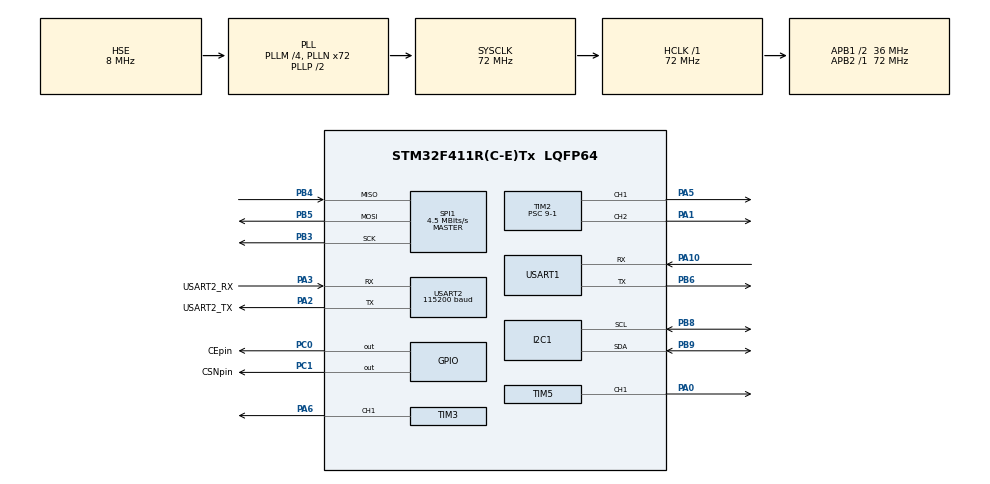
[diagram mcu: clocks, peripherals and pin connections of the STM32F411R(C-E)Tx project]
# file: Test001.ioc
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Dma.Request0=USART1_RX
Dma.Request1=USART1_TX
Dma.Request2=USART2_RX
Dma.Request3=USART2_TX
Dma.USART1_RX.0.Direction=DMA_PERIPH_TO_MEMORY
Dma.USART1_RX.0.FIFOMode=DMA_FIFOMODE_DISABLE
Dma.USART1_RX.0.Instance=DMA2_Stream2
Dma.USART1_RX.0.MemDataAlignment=DMA_MDATAALIGN_BYTE
Dma.USART1_RX.0.MemInc=DMA_MINC_ENABLE
Dma.USART1_RX.0.Mode=DMA_NORMAL
Dma.USART1_RX.0.PeriphDataAlignment=DMA_PDATAALIGN_BYTE
Dma.USART1_RX.0.PeriphInc=DMA_PINC_DISABLE
Dma.USART1_RX.0.Priority=DMA_PRIORITY_LOW
Dma.USART1_TX.1.Direction=DMA_MEMORY_TO_PERIPH
Dma.USART1_TX.1.FIFOMode=DMA_FIFOMODE_DISABLE
Dma.USART1_TX.1.Instance=DMA2_Stream7
Dma.USART1_TX.1.MemDataAlignment=DMA_MDATAALIGN_BYTE
Dma.USART1_TX.1.MemInc=DMA_MINC_ENABLE
Dma.USART1_TX.1.Mode=DMA_NORMAL
Dma.USART1_TX.1.PeriphDataAlignment=DMA_PDATAALIGN_BYTE
Dma.USART1_TX.1.PeriphInc=DMA_PINC_DISABLE
Dma.USART1_TX.1.Priority=DMA_PRIORITY_LOW
Dma.USART2_RX.2.Direction=DMA_PERIPH_TO_MEMORY
Dma.USART2_RX.2.FIFOMode=DMA_FIFOMODE_DISABLE
Dma.USART2_RX.2.Instance=DMA1_Stream5
Dma.USART2_RX.2.MemDataAlignment=DMA_MDATAALIGN_BYTE
Dma.USART2_RX.2.MemInc=DMA_MINC_ENABLE
Dma.USART2_RX.2.Mode=DMA_NORMAL
Dma.USART2_RX.2.PeriphDataAlignment=DMA_PDATAALIGN_BYTE
Dma.USART2_RX.2.PeriphInc=DMA_PINC_DISABLE
Dma.USART2_RX.2.Priority=DMA_PRIORITY_LOW
Dma.USART2_TX.3.Direction=DMA_MEMORY_TO_PERIPH
Dma.USART2_TX.3.FIFOMode=DMA_FIFOMODE_DISABLE
Dma.USART2_TX.3.Instance=DMA1_Stream6
Dma.USART2_TX.3.MemDataAlignment=DMA_MDATAALIGN_BYTE
Dma.USART2_TX.3.MemInc=DMA_MINC_ENABLE
Dma.USART2_TX.3.Mode=DMA_NORMAL
Dma.USART2_TX.3.PeriphDataAlignment=DMA_PDATAALIGN_BYTE
Dma.USART2_TX.3.PeriphInc=DMA_PINC_DISABLE
Dma.USART2_TX.3.Priority=DMA_PRIORITY_LOW
I2C1.I2C_Mode=I2C_Fast
Mcu.Family=STM32F4
Mcu.Name=STM32F411R(C-E)Tx
Mcu.Package=LQFP64
NVIC.DMA1_Stream5_IRQn=true\:0\:0\:false\:false\:true\:false\:true
NVIC.DMA1_Stream6_IRQn=true\:0\:0\:false\:false\:true\:false\:true
NVIC.DMA2_Stream2_IRQn=true\:0\:0\:false\:false\:true\:false\:true
NVIC.DMA2_Stream7_IRQn=true\:0\:0\:false\:false\:true\:false\:true
NVIC.I2C1_ER_IRQn=true\:0\:0\:false\:false\:true\:true\:true
NVIC.I2C1_EV_IRQn=true\:0\:0\:false\:false\:true\:true\:true
NVIC.PriorityGroup=NVIC_PRIORITYGROUP_0
NVIC.TIM2_IRQn=true\:0\:0\:false\:false\:true\:true\:true
NVIC.TIM3_IRQn=true\:0\:0\:false\:false\:true\:true\:true
NVIC.TIM5_IRQn=true\:0\:0\:false\:false\:true\:true\:true
NVIC.USART1_IRQn=true\:0\:0\:false\:false\:true\:true\:true
NVIC.USART2_IRQn=true\:0\:0\:false\:false\:true\:true\:true
PA0-WKUP.Signal=S_TIM5_CH1
PA1.Signal=S_TIM2_CH2
PA10.Mode=Asynchronous
PA10.Signal=USART1_RX
PA13.GPIO_Label=TMS
PA13.Mode=Serial_Wire
PA13.Signal=SYS_JTMS-SWDIO
PA14.GPIO_Label=TCK
PA14.Mode=Serial_Wire
PA14.Signal=SYS_JTCK-SWCLK
PA2.GPIO_Label=USART2_TX
PA2.Mode=Asynchronous
PA2.Signal=USART2_TX
PA3.GPIO_Label=USART2_RX
PA3.Mode=Asynchronous
PA3.Signal=USART2_RX
PA5.Signal=S_TIM2_CH1_ETR
PA6.Signal=S_TIM3_CH1
PB3.Mode=Full_Duplex_Master
PB3.Signal=SPI1_SCK
PB4.Mode=Full_Duplex_Master
PB4.Signal=SPI1_MISO
PB5.Mode=Full_Duplex_Master
PB5.Signal=SPI1_MOSI
PB6.Mode=Asynchronous
PB6.Signal=USART1_TX
PB8.Mode=I2C
PB8.Signal=I2C1_SCL
PB9.Mode=I2C
PB9.Signal=I2C1_SDA
PC0.GPIO_Label=CEpin
PC0.Signal=GPIO_Output
PC1.GPIO_Label=CSNpin
PC1.Signal=GPIO_Output
PH0\ -\ OSC_IN.Mode=HSE-External-Oscillator
PH0\ -\ OSC_IN.Signal=RCC_OSC_IN
PH1\ -\ OSC_OUT.Mode=HSE-External-Oscillator
PH1\ -\ OSC_OUT.Signal=RCC_OSC_OUT
ProjectManager.HeapSize=0x2000
ProjectManager.StackSize=0x4000
ProjectManager.TargetToolchain=EWARM V8.32
RCC.48MHZClocksFreq_Value=36000000
RCC.AHBFreq_Value=72000000
RCC.APB1CLKDivider=RCC_HCLK_DIV2
RCC.APB1Freq_Value=36000000
RCC.APB1TimFreq_Value=72000000
RCC.APB2Freq_Value=72000000
RCC.APB2TimFreq_Value=72000000
RCC.CortexFreq_Value=72000000
RCC.FLatency-AdvancedSettings=FLASH_LATENCY_2
RCC.HCLKFreq_Value=72000000
RCC.HSE_VALUE=8000000
RCC.HSI_VALUE=16000000
RCC.LSE_VALUE=32768
RCC.PLLM=4
RCC.PLLN=72
RCC.PLLSourceVirtual=RCC_PLLSOURCE_HSE
RCC.SYSCLKFreq_VALUE=72000000
RCC.SYSCLKSource=RCC_SYSCLKSOURCE_PLLCLK
RCC.VCOOutputFreq_Value=144000000
SH.S_TIM2_CH1_ETR.0=TIM2_CH1,PWM Generation1 CH1
SH.S_TIM2_CH2.0=TIM2_CH2,PWM Generation2 CH2
SH.S_TIM3_CH1.0=TIM3_CH1,PWM Generation1 CH1
SH.S_TIM5_CH1.0=TIM5_CH1,PWM Generation1 CH1
SPI1.BaudRatePrescaler=SPI_BAUDRATEPRESCALER_16
SPI1.CalculateBaudRate=4.5 MBits/s
SPI1.Direction=SPI_DIRECTION_2LINES
SPI1.Mode=SPI_MODE_MASTER
SPI1.VirtualType=VM_MASTER
TIM2.AutoReloadPreload=TIM_AUTORELOAD_PRELOAD_ENABLE
TIM2.Channel-PWM\ Generation1\ CH1=TIM_CHANNEL_1
TIM2.Channel-PWM\ Generation2\ CH2=TIM_CHANNEL_2
TIM2.Period=16000-1
TIM2.Prescaler=9-1
TIM3.AutoReloadPreload=TIM_AUTORELOAD_PRELOAD_ENABLE
TIM3.Channel-PWM\ Generation1\ CH1=TIM_CHANNEL_1
TIM3.Period=16000-1
TIM3.Prescaler=9-1
TIM5.AutoReloadPreload=TIM_AUTORELOAD_PRELOAD_ENABLE
TIM5.Channel-PWM\ Generation1\ CH1=TIM_CHANNEL_1
TIM5.Period=16000-1
TIM5.Prescaler=9-1
USART1.VirtualMode=VM_ASYNC
USART2.BaudRate=115200
USART2.VirtualMode=VM_ASYNC
VP_TIM2_VS_ClockSourceINT.Mode=Internal
VP_TIM3_VS_ClockSourceINT.Mode=Internal
VP_TIM5_VS_ClockSourceINT.Mode=Internal
board=NUCLEO-F411RE

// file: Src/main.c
/* USER CODE BEGIN Header */
/**
  ******************************************************************************
  * @file           : main.c
  * @brief          : Main program body
  ******************************************************************************
  * @attention
  *
  * <h2><center>&copy; Copyright (c) 2020 STMicroelectronics.
  * All rights reserved.</center></h2>
  *
  * This software component is licensed by ST under BSD 3-Clause license,
  * the "License"; You may not use this file except in compliance with the
  * License. You may obtain a copy of the License at:
  *                        opensource.org/licenses/BSD-3-Clause
  *
  ******************************************************************************
  */
/* USER CODE END Header */

#include "main.h"

/* USER CODE BEGIN Includes */
#include <stdio.h>
#include <string.h>
#include <math.h>
#include <stdlib.h>

#include "stm32f4xx_hal.h"
#include "Quaternion.h"
#include "pid.h"
#include "PWM.h"
#include "Filters.h"
#include "fuzzy.h"
#include "STM32F4_FLASH_MEMORY.h"
#include "nRF24_Receive.h"
#include "tm_stm32_mpu9250.h"
#include "tm_stm32_nrf24l01.h"
#include "tm_stm32_delay.h"
#include "utils.h"

/* USER CODE END Includes */

/* USER CODE BEGIN PD */
#define PI                      (3.141592f)                                     //the ratio of the circumference of a circle to its diameter.
#define dt                      (2.0f)                                          //Least dt milliseconds (>1/dt mHz)Update term (milliseconds).
#define init_angle_average      (40)                                            //Initiate_Setting_angle.
/* USER CODE END PD */

I2C_HandleTypeDef hi2c1;

SPI_HandleTypeDef hspi1;

TIM_HandleTypeDef htim2;
TIM_HandleTypeDef htim3;
TIM_HandleTypeDef htim5;

void SystemClock_Config(void);
static void MX_GPIO_Init(void);
static void MX_DMA_Init(void);
static void MX_I2C1_Init(void);
static void MX_SPI1_Init(void);
static void MX_TIM2_Init(void);
static void MX_TIM3_Init(void);
static void MX_TIM5_Init(void);
static void MX_USART1_UART_Init(void);
static void MX_USART2_UART_Init(void);
/* USER CODE BEGIN PFP */
void UART1_TX_string(char* str);
void UART2_TX_string(char* str);
void uart_recv_val(uint8_t* arr, __PID* pid,int *Controller_1, float* setting_angle);
/* USER CODE END PFP */

/* USER CODE BEGIN 0 */
//==============================GLOBAL VARIABLES================================
//==============================================================================
//==============================UART variables==================================
uint8_t Tx_buffer[50];                                                          //Transmit buffer.

uint8_t uart1_rx_irq_buffer[8];                                                 //Receive buffer.
uint8_t uart1_tx_to_MFC[16];                                                    //Transmit buffer.
uint8_t uart2_tx_data[255];
uint8_t data;
int count = 0;

//volatile __IO uint8_t  DMA_Rx_Flag = 0;
//volatile __IO uint8_t  DMA_Tx_Flag = 0;
//==============================INIT Variables==================================
//=============================MPU9250 variables================================
//==============================================================================
//=======================nRF24L01 GLOBAL VARIABLES==============================
//uint8_t TxAddress[] = {                                                       // Controller
//  0xE7,
//  0xE7,
//  0xE7,
//  0xE7,
//  0xE7
//};
uint8_t MyAddress[] = {                                                         // Controller
  0x7E,
  0x7E,
  0x7E,
  0x7E,
  0x7E
};

//int value=0;

//==============================================================================

//================================printf FUNCTION===============================
//int fputc(int ch ,FILE *f)
//{
//  //UART2_TX_string((char *)ch);
//  HAL_UART_Transmit(&huart2,(uint8_t*)&ch,1,0xFFFF);
//  return ch;
//}
//==============================================================================

/* USER CODE END 0 */

int main(void)
{
  /* USER CODE BEGIN 1 */
  //==============================INIT Variables================================
  TM_MPU9250_t    MPU9250;                                                      //MPU9250 Sensor structure.
  __PID           pid;                                                          //PID Controll structure.
  //========================Flags and Time_flags================================
  uint32_t Now = 0;                                                             //Used to calculate integration interval.
  uint32_t lastUpdate = 0;                                                      //Used to calculate integration interval.
  uint32_t before_while = 0;                                                    //Time of Before entering while loop.
  uint16_t wait = 0;                                                            //getting initiate setting_angle waiting time.
  uint8_t wait_flag = 0;                                                        //Time waiting flag.
  uint8_t errflag = 0;
//  uint8_t UART1_flag=0;
  //=============================UART Variables=================================
  //========================Quaternion VARIABLES================================
  float deltat = 0.0f;                                                          //integration interval for filter schemes.
  float q[4] = {1.0f, 0.0f, 0.0f, 0.0f};                                        //vector to hold quaternion.
  float q2[4] = {1.0f, 0.0f, 0.0f, 0.0f};                                       //vector to hold quaternion.
  float Euler_angle[3] = {0.0f, 0.0f, 0.0f};                                    //roll pitch yaw.
  float Euler_angle2[3] = {0.0f, 0.0f, 0.0f};                                   //roll pitch yaw.
  float Euler_angle_Union[3] = {0.0f, 0.0f, 0.0f};                              //roll pitch yaw.
  //=============================Fuzzy Variables================================
  float prev_err[3];                                                            //Prev_Setting_point - Euler_angle.
  //==============================PWM Variables=================================
  int Controller_1 = 15;                                                        //Moter Throttle.
  //==============================FILTER's Variables============================
//  float preEuler_angle[3] = {0.0f, 0.0f, 0.0f};                                 //Used in LPF.
//  float LPF_Euler_angle[3] = {0.0f, 0.0f, 0.0f};                                //Used in LPF.
//  float preGyro[3] = {0.0f, 0.0f, 0.0f};                                        //Used in GyroLPF.
//  float LPF_Gyro[3] = {0.0f, 0.0f, 0.0f};                                       //Used in GyroLPF.
  //=============================MPU9250 Variables==============================
  float Self_Test[6] = {0.0f, 0.0f, 0.0f, 0.0f, 0.0f, 0.0f};                    //MPU9250 Accell and Gyro Self_Test.
  float Self_Test_Mag[3] = {0.0f, 0.0f, 0.0f};                                  //MPU9250 Magnetometer Self_Test.
  //========================Drone Calibration Mode Variables====================
  uint8_t CaliFlag = 1;
  //============================nRF24L01 VARIABLES==============================
  int temp_int = 0;                                                                 //uint8_t
  float temp = 0;                                                                   //uint8_t
  //====================Hanging Variables from external controll================
  float setting_angle[3] = {0.0f, 0.0f, 0.0f};                                  //roll pitch yaw.
  float init_setting_angle[3] = {0.0f, 0.0f, 0.0f};
//  float pid_val[3][3] = {{0.95f, 0.01f, 0.0f}, {0.8f, 0.01f, 0.0f}, {1.0f, 0.0f, 0.0f}};            //P I D gain controll (Roll PID, Pitch PID, Yaw PID sequences).
//  float inpid_val[3][3] = {{40.501f, 0.01f, 0.570f}, {45.501f, 0.01f, 0.970f}, {20.0f, 0.0f, 0.5f}};          //P I D gain controll (Roll PID, Pitch PID, Yaw PID sequences).
  float pid_val[3][3] = {{0.95f, 0.01f, 0.0f}, {0.8f, 0.01f, 0.0f}, {1.0f, 0.0f, 0.0f}};            //P I D gain controll (Roll PID, Pitch PID, Yaw PID sequences).
  float inpid_val[3][3] = {{40.501f, 0.01f, 0.570f}, {45.501f, 0.01f, 0.970f}, {20.0f, 0.0f, 0.5f}};          //P I D gain controll (Roll PID, Pitch PID, Yaw PID sequences).
  float angular_velocity[3];                                                    //For double loop PID.

  /* USER CODE END 1 */

  /* MCU Configuration--------------------------------------------------------*/

  /* Reset of all peripherals, Initializes the Flash interface and the Systick. */
  HAL_Init();

  /* USER CODE BEGIN Init */
  __INIT__MPU9250(&MPU9250);                                                    //Init MPU9250 variables.
  MPU9250SelfTest(&MPU9250, &Self_Test[0],TM_MPU9250_Device_0);                 //Selftest MPU9250.
  //calibrateMPU9250(&MPU9250);                                                 //Calibrate MPU9250 Accelometer and Gyroscope.
  TM_MPU9250_Init(&MPU9250, TM_MPU9250_Device_0);                               //Init MPU9250 and setting.
  TM_MPU9250_ReadMagASA(&MPU9250);                                              //Get MPU9250 Magnetic ASA data.
  pid_init(&pid, pid_val, inpid_val);                                           //Init pid values.
  fuzzy_init();                                                                 //Init fuzzy values.
  /* USER CODE END Init */

  /* Configure the system clock */
  SystemClock_Config();

  /* Initialize all configured peripherals */
  MX_GPIO_Init();
  MX_DMA_Init();
  MX_I2C1_Init();
  MX_SPI1_Init();
  MX_TIM2_Init();
  MX_TIM3_Init();
  MX_TIM5_Init();
  MX_USART1_UART_Init();
  MX_USART2_UART_Init();
  /* USER CODE BEGIN 2 */
//System_information();
//STM32f4_USART2_Init();
  //=============================Calibration Part===============================
  if(CaliFlag == 0)    //0 is disable.
  {
    HAL_TIM_PWM_Stop(&htim5, TIM_CHANNEL_1);
    HAL_TIM_PWM_Stop(&htim2, TIM_CHANNEL_2);
    HAL_TIM_PWM_Stop(&htim2, TIM_CHANNEL_1);
    HAL_TIM_PWM_Stop(&htim3, TIM_CHANNEL_1);

    MPU9250SelfTest(&MPU9250, &Self_Test[0],TM_MPU9250_Device_0);
    //calibrateMPU9250(&MPU9250);
    Delayms(500);
    TM_MPU9250_Init(&MPU9250, TM_MPU9250_Device_0);
    TM_MPU9250_ReadMagASA(&MPU9250);                                            //Get MPU9250 Magnetic ASA data.
    AK8963SelfTest(&MPU9250, &Self_Test_Mag[0]);
    MagCalibration(&MPU9250);
    //while(1){}                                                                //Unlimited loop.
  }
  //==========================Calibration Part END==============================
  //==============================PWM START=====================================
  if (1)
  {
    HAL_TIM_PWM_Start(&htim5, TIM_CHANNEL_1);
    HAL_TIM_PWM_Start(&htim2, TIM_CHANNEL_2);
    HAL_TIM_PWM_Start(&htim2, TIM_CHANNEL_1);
    HAL_TIM_PWM_Start(&htim3, TIM_CHANNEL_1);
  }

    //ESC_Calibration();
    Motor_Init();
    //Motor_Start();

  TM_NRF24L01_Init(120,8);
  TM_NRF24L01_SetRF(TM_NRF24L01_DataRate_250k, TM_NRF24L01_OutputPower_0dBm);
  TM_NRF24L01_SetMyAddress(MyAddress);
  //======================Get Biases From Flash Memory==========================
  if(1){
    Get_biases(&MPU9250);
  }
  //=====================Get Biases From Flash Memory END=======================
  before_while = HAL_GetTick();                                                 //Get time of before while loop.
  lastUpdate = before_while;                                                    //First time of lastUpdate using for gain the deltat.

  LL_USART_EnableIT_RXNE(USART1);
//  LL_USART_EnableIT_RXNE(USART2);
  /* USER CODE END 2 */

  /* Infinite loop */
  /* USER CODE BEGIN WHILE */
  while (1)
  {

    //int aa = HAL_GetTick();     //Get time.
  //============================Get MPU9250 data================================
    TM_MPU9250_ReadAcce(&MPU9250);                                              //get Accel data.
    TM_MPU9250_ReadGyro(&MPU9250);                                              //get Gyro data.
    TM_MPU9250_ReadMag(&MPU9250);                                               //get Magnetic data.
  //==========================Get MPU9250 data END==============================
  //===Subtract Automatic Accelometer Gyroscope and Magnetic filed bias===

     MPU9250.Ax -= MPU9250.Accbiasx;                                            //callibrate Accel values.
     MPU9250.Ay -= MPU9250.Accbiasy;
     MPU9250.Az -= MPU9250.Accbiasz;

     MPU9250.Gx -= MPU9250.Gybiasx;                                             //callibrate Gyro values.
     MPU9250.Gy -= MPU9250.Gybiasy;
     MPU9250.Gz -= MPU9250.Gybiasz;

     MPU9250.Mx -= MPU9250.Magbiasx;                                            //callibrate Magnetic values.
     MPU9250.My -= MPU9250.Magbiasy;
     MPU9250.Mz -= MPU9250.Magbiasz;

     MPU9250.Mx *= MPU9250.Magscalex;                                           //callibrate Magnetic values.
     MPU9250.My *= MPU9250.Magscaley;
     MPU9250.Mz *= MPU9250.Magscalez;

  //====Subtract Automatic Accelometer Gyroscope and Magnetic filed bias END====
  //===========================Init settiing angle==============================
    if (wait_flag < init_angle_average)
    {
      wait = HAL_GetTick() - before_while;
      if (wait >= 5000)
      {
        init_setting_angle[0] += Euler_angle[0];                                //roll.
        init_setting_angle[1] += Euler_angle[1];                                //pitch.
        init_setting_angle[2] += Euler_angle[2];                                //yaw.
        wait_flag ++;
      }
    }
    if (wait_flag == init_angle_average)
    {
//      setting_angle[0] = init_setting_angle[0] / init_angle_average;          //init roll.
//      setting_angle[1] = init_setting_angle[1] / init_angle_average;          //init pitch.
      setting_angle[2] = init_setting_angle[2] / init_angle_average;            //init yaw.
      wait_flag ++;
    }
  //============================Init settiing angle END=========================
  //============================Get delta_t=====================================
    Now = HAL_GetTick();                                                        //Get current time.
    deltat += (Now - lastUpdate);                                               //Set integration time by time elapsed since+ last filter update (milliseconds).
    lastUpdate = Now;                                                           //Update lastupdate time to current time.
  //============================Get delta T END=================================
  //============================================================================
    angular_velocity[0] = MPU9250.Gx / 10.0f * dt;                              //angular velocity (degree/1ms(*2))
    angular_velocity[1] = MPU9250.Gy / 10.0f * dt;
    angular_velocity[2] = MPU9250.Gz / 10.0f * dt;

    if (deltat >= dt)                                                           //Update term (500Hz.dt=2).
    {
      deltat /= 1000.0f;                                                        //Make millisecond to second.
      //__LPFGyro(LPF_Gyro, &MPU9250, preGyro, deltat);
      MahonyQuaternionUpdate(MPU9250.Ax, MPU9250.Ay, MPU9250.Az, MPU9250.Gx*PI/180.0f, MPU9250.Gy*PI/180.0f, MPU9250.Gz*PI/180.0f, MPU9250.My, MPU9250.Mx, -MPU9250.Mz, q, deltat);
      MahonyAHRSupdateIMU2(MPU9250.Ax, MPU9250.Ay, MPU9250.Az, MPU9250.Gx*PI/180.0f, MPU9250.Gy*PI/180.0f, MPU9250.Gz*PI/180.0f, q2, deltat);
      Quternion2Euler(q, Euler_angle);                                          //Get Euler angles (roll, pitch, yaw) from Quaternions.
      Quternion2Euler(q2, Euler_angle2);                                        //Get Euler angles (roll, pitch, yaw) from Quaternions.
      //__LPF(LPF_Euler_angle, Euler_angle, preEuler_angle, deltat);
      Euler_angle_Union[0] = Euler_angle2[0];
      Euler_angle_Union[1] = Euler_angle2[1];
      Euler_angle_Union[2] = Euler_angle[2];
      Euler_angle_Union[0] = constrain(Euler_angle_Union[0], -90.0, 90.0);
  //===================================Fuzzy part===============================
//      Fuzzification(setting_angle[0], Euler_angle[0], &prev_err[0]);            //Fuzzy roll part.
//      Create_Fuzzy_Matrix(0);
//      Defuzzification(&inpid_val[0][0],&inpid_val[0][1],&inpid_val[0][2], 0);   //Fuzzy roll end.
//
//      Fuzzification(setting_angle[1], Euler_angle[1], &prev_err[1]);            //Fuyzzy pitch part.
//      Create_Fuzzy_Matrix(1);
//      Defuzzification(&inpid_val[1][0],&inpid_val[1][1],&inpid_val[1][2], 1);   //Fuzzy pitch end.
//
//      Fuzzification(setting_angle[2], Euler_angle[2], &prev_err[2]);            //Fuzzy yaw part.
//      Create_Fuzzy_Matrix(2);
//      Defuzzification(&inpid_val[2][0],&inpid_val[2][1],&inpid_val[2][2], 2);   //Fuzzy yaw end.
//      pid_gain_update(&pid, pid_val, inpid_val);                                //From Fuzzy the PID gain value is changed.
//
//      Fuzzification(setting_angle[0], Euler_angle_Union[0], &prev_err[0]);      //Fuzzy roll part.
//      Create_Fuzzy_Matrix(0);
//      Defuzzification(&inpid_val[0][0],&inpid_val[0][1],&inpid_val[0][2], 0);   //Fuzzy roll end.
//
//      Fuzzification(setting_angle[1], Euler_angle_Union[1], &prev_err[1]);      //Fuyzzy pitch part.
//      Create_Fuzzy_Matrix(1);
//      Defuzzification(&inpid_val[1][0],&inpid_val[1][1],&inpid_val[1][2], 1);   //Fuzzy pitch end.
//
//      Fuzzification(setting_angle[2], Euler_angle_Union[2], &prev_err[2]);      //Fuzzy yaw part.
//      Create_Fuzzy_Matrix(2);
//      Defuzzification(&inpid_val[2][0],&inpid_val[2][1],&inpid_val[2][2], 2);   //Fuzzy yaw end.
//      pid_gain_update(&pid, pid_val, inpid_val);                                //From Fuzzy the PID gain value is changed.
  //================================Fuzzy part END==============================
      if (HAL_GetTick() - before_while >= 5500)
      {
        __pid_update(&pid, setting_angle, Euler_angle_Union, angular_velocity, deltat);         //PID value update.
        //__pid_update(&pid, setting_angle, Euler_angle, angular_velocity, deltat);         //PID value update.
        //__pid_update(&pid, setting_angle, LPF_Euler_angle, angular_velocity, deltat);   //PID value update.
        pid.output[0] = constrain(pid.output[0], -6000.0, 6000.0);
        pid.output[1] = constrain(pid.output[1], -6000.0, 6000.0);
        pid.output[2] = constrain(pid.output[2], -6000.0, 6000.0);

      }
      //=======Check dead board=================================================
      if (MPU9250.Ax_Raw == 0 && MPU9250.Ay_Raw == 0 && MPU9250.Az_Raw == 30209 \
        && MPU9250.Gx_Raw == 0 && MPU9250.Gy_Raw == 0 && MPU9250.Gz_Raw == 30209 \
        && MPU9250.Mx_Raw == 6 && MPU9250.My_Raw == 0 && MPU9250.Mz_Raw == 0)
      {
        errflag ++;
//        Euler_angle_Union[0] -= 90;
//        Euler_angle_Union[1] -= 38;
//        Euler_angle_Union[2] += 83;
        if(errflag >=2)
        {
            Controller_1 = 0;
            setting_angle[0] = 0;
            setting_angle[1] = 0;
            setting_angle[2] = 0;
            pid.output[0] = 0;
            pid.output[1] = 0;
            pid.output[2] = 0;
            errflag = 2;
        }
      }
      //if(Euler_angle[2] < 0) Euler_angle[2] += 360.0f;                        // Ensure yaw stays between 0 and 360
      deltat = 0.0f;                                                            //reset deltat.
    }
/*-----------------------------------------------------------------------------------------------*/
//============================Data print transmit UART part=====================
    //sprintf((char*)uart2_tx_data,"%10.4f %10.4f %10.4f %10.4f %10.4f %10.4f %10.4f %10.4f %10.4f \r\n",  \
      MPU9250.Ax, MPU9250.Ay ,MPU9250.Az, MPU9250.Gx, MPU9250.Gy, MPU9250.Gz, MPU9250.Mx, MPU9250.My, MPU9250.Mz);
    //sprintf((char*)uart2_tx_data,"%10.4f %10.4f %10.4f \r\n", MPU9250.Mx, MPU9250.My, MPU9250.Mz);
    //sprintf((char*)uart2_tx_data,"%10.4f %10.4f %10.4f %10.4f %10.4f %10.4f %10.4f %10.4f %10.4f \r\n",  \
      MPU9250.Ax, MPU9250.Ay ,MPU9250.Az, MPU9250.Gx, MPU9250.Gy, MPU9250.Gz, LPF_Gyro[0],LPF_Gyro[1], LPF_Gyro[2]);
    //sprintf((char*)uart2_tx_data,"%f  %f  %f  %f  %f  %f\r\n", Self_Test[0], Self_Test[1], Self_Test[2], Self_Test[3], Self_Test[4], Self_Test[5]);
    //sprintf((char*)uart2_tx_data,"%f  %f  %f\r\n", Self_Test_Mag[0], Self_Test_Mag[1], Self_Test_Mag[2]);
    //sprintf((char*)uart2_tx_data,"%f %f %f %f %f %f %f %f %f\r\n", MPU9250.Accbiasx, MPU9250.Accbiasy, MPU9250.Accbiasz, MPU9250.Gybiasx, MPU9250.Gybiasy, MPU9250.Gybiasz, MPU9250.Magbiasx, MPU9250.Magbiasy, MPU9250.Magbiasz);
    //sprintf((char*)uart2_tx_data,"%f %f %f %f %f %f\r\n", MPU9250.Magbiasx, MPU9250.Magbiasy, MPU9250.Magbiasz, MPU9250.Magscalex, MPU9250.Magscaley, MPU9250.Magscalez);
    //sprintf((char*)uart2_tx_data,"%10.4f %10.4f %10.4f %10.4f\r\n", q[0], q[1], q[2], q[3]);
    //sprintf((char*)uart2_tx_data,"%10.4f %10.4f %10.4f %10.4f %10.4f %10.4f %10.4f %10.4f %10.4f\r\n", pid.iKp[0], pid.iKi[0], pid.iKd[0], pid.iKp[1], pid.iKi[1], pid.iKd[1],pid.iKp[2], pid.iKi[2], pid.iKd[2]);

    //sprintf((char*)uart2_tx_data,"%10.2f  %10.2f  %10.2f  %10.2f  %10.2f  %10.2f  %10.2f  %10.2f  %10.2f\r\n",  Euler_angle[0], Euler_angle[1], Euler_angle[2], setting_angle[0], setting_angle[1], setting_angle[2], pid.output[0],pid.output[1], pid.output[2]);
    //sprintf((char*)uart2_tx_data,"%10.2f  %10.2f  %10.2f  %10.2f  %10.2f  %10.2f  %10.2f  %10.2f  %10.2f\r\n",  LPF_Euler_angle[0], LPF_Euler_angle[1], LPF_Euler_angle[2], setting_angle[0], setting_angle[1], setting_angle[2], pid.output[0],pid.output[1], pid.output[2]);
    //sprintf((char*)uart2_tx_data,"%4d %4d %4d\r\n", (int)LPF_Euler_angle[0], (int)LPF_Euler_angle[1], (int)LPF_Euler_angle[2]);
    //sprintf((char*)uart2_tx_data,"%4d %4d %4d\r\n", (int)Euler_angle[0], (int)Euler_angle[1], (int)Euler_angle[2]);
    //sprintf((char*)uart2_tx_data,"%10.2f  %10.2f  %10.2f  %10.2f  %10.2f  %10.2f  %10.2f\r\n",  Euler_angle[0], Euler_angle[1], Euler_angle[2], setting_angle[0], setting_angle[1], setting_angle[2], pid.output[2]);
    //sprintf((char*)uart2_tx_data,"%10.2f  %10.2f  %10.2f  %10.2f  %10.2f  %10.2f\r\n",  Euler_angle[0], Euler_angle[1], Euler_angle[2], setting_angle[0], setting_angle[1], setting_angle[2]);
    //sprintf((char*)uart2_tx_data,"%4d,%4d,%4d   %4d,%4d,%4d\r\n",  (int)Euler_angle[0], (int)Euler_angle[1], (int)Euler_angle[2], (int)Euler_angle2[0], (int)Euler_angle2[1], (int)Euler_angle2[2]);
    //sprintf((char*)uart2_tx_data,"%4d,%4d,%4d   %4d,%4d,%4d     %4d,%4d,%4d\r\n",  (int)Euler_angle[0], (int)Euler_angle[1], (int)Euler_angle[2], (int)Euler_angle2[0], (int)Euler_angle2[1], (int)Euler_angle2[2], (int)Euler_angle_Union[0], (int)Euler_angle_Union[1], (int)Euler_angle_Union[2]);
    //sprintf((char*)uart2_tx_data,"%4d,%4d,%4d\r\n", (int)Euler_angle_Union[0], (int)Euler_angle_Union[1], (int)Euler_angle_Union[2]);
    sprintf((char*)uart2_tx_data,"%4d,%4d,%4d  %7.2f %7.2f %7.2f  %7.2f %7.2f %7.2f %d\r\n", (int)Euler_angle_Union[0], (int)Euler_angle_Union[1], (int)Euler_angle_Union[2],pid.output[0],pid.output[1], pid.output[2], setting_angle[0], setting_angle[1], setting_angle[2], Controller_1);
    //sprintf((char*)uart2_tx_data,"%7.2f %7.2f %7.2f\r\n", pid.iKp[0],pid.iKi[0],pid.iKd[0]);
    //UART2_TX_string((char *)uart2_tx_data);

 //=========================Data print transmit UART part END===================

 //===========================BLDC Motor Part===================================

    if(HAL_GetTick() - before_while >= 5000 && HAL_GetTick() - before_while < 6000)
    {
       Motor_Start();
    }
    else if (HAL_GetTick() - before_while >= 6000)
    {
      //Motor_Drive(Controller_1, pid.output);

      if (Controller_1 <= 5)
      {
        MOTOR_V1 = MIN_PULSE;
        MOTOR_V2 = MIN_PULSE;
        MOTOR_V3 = MIN_PULSE;
        MOTOR_V4 = MIN_PULSE;
      }

      else if (Controller_1 > 5)                                                //Controller_1
      {
        if (fabs(Euler_angle_Union[0]) > 15.0f || fabs(Euler_angle_Union[1]) > 15.0f)       //Restrict yaw acting Euler angle.
        {
          pid.output[2] = 0.0f;
        }

        MOTOR_V1 = MIN_PULSE + (Controller_1 * 70) + (int)(0.7 * (MoterGain_roll) * pid.output[0]) - (int)(0.7 * (MoterGain_pitch) * pid.output[1]) + (int)(MoterGain_yaw * pid.output[2]);
        //MOTOR_V1 = MIN_PULSE + (Controller_1 * 70) + (int)(0.7 * MoterGain_yaw * pid.output[2]);
        //MOTOR_V1 = MIN_PULSE + (Controller_1 * 70) + (int)(0.7 * (MoterGain_roll) * pid.output[0]) - (int)(0.7 * (MoterGain_pitch) * pid.output[1]);
        //MOTOR_V1 = MIN_PULSE + (Controller_1 * 70) - (int)(0.7 * MoterGain_pitch * pid.output[1]);
        //MOTOR_V1 = MIN_PULSE + (Controller_1 * 70) + (int)(0.7 * MoterGain_roll * pid.output[0]);
       // MOTOR_V1 = MIN_PULSE + (Controller_1 * 70);
        if (MOTOR_V1 >= MAX_PULSE)// - MOTER_SAFTY)
          MOTOR_V1 = MAX_PULSE;// -  MOTER_SAFTY;
        else if (MOTOR_V1 <= MIN_PULSE + 700)
          MOTOR_V1 = MIN_PULSE + 700;

        MOTOR_V2 = MIN_PULSE + (Controller_1 * 70) - (int)(0.7 * (MoterGain_roll) * pid.output[0]) - (int)(0.7 * (MoterGain_pitch) * pid.output[1]) - (int)(MoterGain_yaw * pid.output[2]);
        //MOTOR_V2 = MIN_PULSE + (Controller_1 * 70) - (int)(0.7 * MoterGain_yaw * pid.output[2]);
        //MOTOR_V2 = MIN_PULSE + (Controller_1 * 70) - (int)(0.7 * (MoterGain_roll) * pid.output[0]) - (int)(0.7 * (MoterGain_pitch) * pid.output[1]);
        //MOTOR_V2 = MIN_PULSE + (Controller_1 * 70) - (int)(0.7 * (MoterGain_pitch) * pid.output[1]);
        //MOTOR_V2 = MIN_PULSE + (Controller_1 * 70) - (int)(0.7 * MoterGain_roll * pid.output[0]);
        //MOTOR_V2 = MIN_PULSE + (Controller_1 * 70);
        if (MOTOR_V2 >= MAX_PULSE)// - MOTER_SAFTY)
          MOTOR_V2 = MAX_PULSE;// - MOTER_SAFTY;
        else if (MOTOR_V2 <= MIN_PULSE + 700)
          MOTOR_V2 = MIN_PULSE + 700;

        MOTOR_V3 = MIN_PULSE + (Controller_1 * 70) + (int)(0.7 * (MoterGain_roll) * pid.output[0]) + (int)(0.7 * (MoterGain_pitch) * pid.output[1]) - (int)(MoterGain_yaw * pid.output[2]);
        //MOTOR_V3 = MIN_PULSE + (Controller_1 * 70) - (int)(0.7 * MoterGain_yaw * pid.output[2]);
        //MOTOR_V3 = MIN_PULSE + (Controller_1 * 70) + (int)(0.7 * (MoterGain_roll) * pid.output[0]) + (int)(0.7 * (MoterGain_pitch) * pid.output[1]);
        //MOTOR_V3 = MIN_PULSE + (Controller_1 * 70) + (int)(0.7 * MoterGain_pitch * pid.output[1]);
        //MOTOR_V3 = MIN_PULSE + (Controller_1 * 70) + (int)(0.7 * MoterGain_roll * pid.output[0]);
        //MOTOR_V3 = MIN_PULSE + (Controller_1 * 70);
        if (MOTOR_V3 >= MAX_PULSE)// - MOTER_SAFTY)
          MOTOR_V3 = MAX_PULSE;// - MOTER_SAFTY;
        else if (MOTOR_V3 <= MIN_PULSE + 700)
          MOTOR_V3 = MIN_PULSE + 700;

        MOTOR_V4 = MIN_PULSE + (Controller_1 * 70) - (int)(0.7 * (MoterGain_roll) * pid.output[0]) + (int)(0.7 * (MoterGain_pitch) * pid.output[1]) + (int)(MoterGain_yaw * pid.output[2]);
        //MOTOR_V4 = MIN_PULSE + (Controller_1 * 70) + (int)(0.7 * MoterGain_yaw * pid.output[2]);
        //MOTOR_V4 = MIN_PULSE + (Controller_1 * 70) - (int)(0.7 * (MoterGain_roll) * pid.output[0]) + (int)(0.7 * (MoterGain_pitch) * pid.output[1]);
        //MOTOR_V4 = MIN_PULSE + (Controller_1 * 70) + (int)(0.7 * (MoterGain_pitch) * pid.output[1]);
        //MOTOR_V4 = MIN_PULSE + (Controller_1 * 70) - (int)(0.7 * MoterGain_roll * pid.output[0]);
        //MOTOR_V4 = MIN_PULSE + (Controller_1 * 70);
        if (MOTOR_V4 >= MAX_PULSE)// - MOTER_SAFTY)
          MOTOR_V4 = MAX_PULSE;// - MOTER_SAFTY;
        else if (MOTOR_V4 <= MIN_PULSE + 700)
          MOTOR_V4 = MIN_PULSE + 700;
       }
    }

//========================BLDC Motor Part END===================================

//========================NRF24L01 Receive Part=================================
 NRF24_Receive(&Controller_1,temp,temp_int,&pid,setting_angle,Euler_angle[2]);
//=======================NRF24L01 Receive Part END==============================

//==========================Data transmit part==================================
//==========================Euler_angle_chart_part==============================
 sprintf((char*)uart1_tx_to_MFC,"%d,%d,%d,", (int)Euler_angle_Union[0], (int)Euler_angle_Union[1], (int)Euler_angle_Union[2]);
    //sprintf((char*)uart1_tx_to_MFC,"%d,%d,%d,", (int)Euler_angle[0], (int)Euler_angle[1], (int)Euler_angle[2]);
    //UART1_TX_string((char *)uart1_tx_to_MFC);
//===========================outPID inPID change part===========================
     if(count == 8)
    {
      count = 0;
      uart_recv_val(uart1_rx_irq_buffer, &pid, &Controller_1, setting_angle);
    }
//============================Data transmit part END============================
//================================TIme Check====================================
//================================TIme Check END================================
    /* USER CODE END WHILE */

  }
}

void SystemClock_Config(void)
{
  RCC_OscInitTypeDef RCC_OscInitStruct = {0};
  RCC_ClkInitTypeDef RCC_ClkInitStruct = {0};

  /** Configure the main internal regulator output voltage
  */
  __HAL_RCC_PWR_CLK_ENABLE();
  __HAL_PWR_VOLTAGESCALING_CONFIG(PWR_REGULATOR_VOLTAGE_SCALE1);
  /** Initializes the CPU, AHB and APB busses clocks
  */
  RCC_OscInitStruct.OscillatorType = RCC_OSCILLATORTYPE_HSE;
  RCC_OscInitStruct.HSEState = RCC_HSE_ON;
  RCC_OscInitStruct.PLL.PLLState = RCC_PLL_ON;
  RCC_OscInitStruct.PLL.PLLSource = RCC_PLLSOURCE_HSE;
  RCC_OscInitStruct.PLL.PLLM = 4;
  RCC_OscInitStruct.PLL.PLLN = 72;
  RCC_OscInitStruct.PLL.PLLP = RCC_PLLP_DIV2;
  RCC_OscInitStruct.PLL.PLLQ = 4;
  if (HAL_RCC_OscConfig(&RCC_OscInitStruct) != HAL_OK)
  {
    Error_Handler();
  }
  /** Initializes the CPU, AHB and APB busses clocks
  */
  RCC_ClkInitStruct.ClockType = RCC_CLOCKTYPE_HCLK|RCC_CLOCKTYPE_SYSCLK
                              |RCC_CLOCKTYPE_PCLK1|RCC_CLOCKTYPE_PCLK2;
  RCC_ClkInitStruct.SYSCLKSource = RCC_SYSCLKSOURCE_PLLCLK;
  RCC_ClkInitStruct.AHBCLKDivider = RCC_SYSCLK_DIV1;
  RCC_ClkInitStruct.APB1CLKDivider = RCC_HCLK_DIV2;
  RCC_ClkInitStruct.APB2CLKDivider = RCC_HCLK_DIV1;

  if (HAL_RCC_ClockConfig(&RCC_ClkInitStruct, FLASH_LATENCY_2) != HAL_OK)
  {
    Error_Handler();
  }
}

static void MX_I2C1_Init(void)
{

  hi2c1.Instance = I2C1;
  hi2c1.Init.ClockSpeed = 400000;
  hi2c1.Init.DutyCycle = I2C_DUTYCYCLE_2;
  hi2c1.Init.OwnAddress1 = 0;
  hi2c1.Init.AddressingMode = I2C_ADDRESSINGMODE_7BIT;
  hi2c1.Init.DualAddressMode = I2C_DUALADDRESS_DISABLE;
  hi2c1.Init.OwnAddress2 = 0;
  hi2c1.Init.GeneralCallMode = I2C_GENERALCALL_DISABLE;
  hi2c1.Init.NoStretchMode = I2C_NOSTRETCH_DISABLE;
  if (HAL_I2C_Init(&hi2c1) != HAL_OK)
  {
    Error_Handler();
  }

}

static void MX_SPI1_Init(void)
{

  /* SPI1 parameter configuration*/
  hspi1.Instance = SPI1;
  hspi1.Init.Mode = SPI_MODE_MASTER;
  hspi1.Init.Direction = SPI_DIRECTION_2LINES;
  hspi1.Init.DataSize = SPI_DATASIZE_8BIT;
  hspi1.Init.CLKPolarity = SPI_POLARITY_LOW;
  hspi1.Init.CLKPhase = SPI_PHASE_1EDGE;
  hspi1.Init.NSS = SPI_NSS_SOFT;
  hspi1.Init.BaudRatePrescaler = SPI_BAUDRATEPRESCALER_16;
  hspi1.Init.FirstBit = SPI_FIRSTBIT_MSB;
  hspi1.Init.TIMode = SPI_TIMODE_DISABLE;
  hspi1.Init.CRCCalculation = SPI_CRCCALCULATION_DISABLE;
  hspi1.Init.CRCPolynomial = 10;
  if (HAL_SPI_Init(&hspi1) != HAL_OK)
  {
    Error_Handler();
  }

}

static void MX_TIM2_Init(void)
{

  TIM_ClockConfigTypeDef sClockSourceConfig = {0};
  TIM_MasterConfigTypeDef sMasterConfig = {0};
  TIM_OC_InitTypeDef sConfigOC = {0};

  htim2.Instance = TIM2;
  htim2.Init.Prescaler = 9-1;
  htim2.Init.CounterMode = TIM_COUNTERMODE_UP;
  htim2.Init.Period = 16000-1;
  htim2.Init.ClockDivision = TIM_CLOCKDIVISION_DIV1;
  htim2.Init.AutoReloadPreload = TIM_AUTORELOAD_PRELOAD_ENABLE;
  if (HAL_TIM_Base_Init(&htim2) != HAL_OK)
  {
    Error_Handler();
  }
  sClockSourceConfig.ClockSource = TIM_CLOCKSOURCE_INTERNAL;
  if (HAL_TIM_ConfigClockSource(&htim2, &sClockSourceConfig) != HAL_OK)
  {
    Error_Handler();
  }
  if (HAL_TIM_PWM_Init(&htim2) != HAL_OK)
  {
    Error_Handler();
  }
  sMasterConfig.MasterOutputTrigger = TIM_TRGO_RESET;
  sMasterConfig.MasterSlaveMode = TIM_MASTERSLAVEMODE_DISABLE;
  if (HAL_TIMEx_MasterConfigSynchronization(&htim2, &sMasterConfig) != HAL_OK)
  {
    Error_Handler();
  }
  sConfigOC.OCMode = TIM_OCMODE_PWM1;
  sConfigOC.Pulse = 0;
  sConfigOC.OCPolarity = TIM_OCPOLARITY_HIGH;
  sConfigOC.OCFastMode = TIM_OCFAST_DISABLE;
  if (HAL_TIM_PWM_ConfigChannel(&htim2, &sConfigOC, TIM_CHANNEL_1) != HAL_OK)
  {
    Error_Handler();
  }
  if (HAL_TIM_PWM_ConfigChannel(&htim2, &sConfigOC, TIM_CHANNEL_2) != HAL_OK)
  {
    Error_Handler();
  }
  HAL_TIM_MspPostInit(&htim2);

}

static void MX_TIM3_Init(void)
{

  TIM_ClockConfigTypeDef sClockSourceConfig = {0};
  TIM_MasterConfigTypeDef sMasterConfig = {0};
  TIM_OC_InitTypeDef sConfigOC = {0};

  htim3.Instance = TIM3;
  htim3.Init.Prescaler = 0;
  htim3.Init.CounterMode = TIM_COUNTERMODE_UP;
  htim3.Init.Period = 16000-1;
  htim3.Init.ClockDivision = TIM_CLOCKDIVISION_DIV1;
  htim3.Init.AutoReloadPreload = TIM_AUTORELOAD_PRELOAD_ENABLE;
  if (HAL_TIM_Base_Init(&htim3) != HAL_OK)
  {
    Error_Handler();
  }
  sClockSourceConfig.ClockSource = TIM_CLOCKSOURCE_INTERNAL;
  if (HAL_TIM_ConfigClockSource(&htim3, &sClockSourceConfig) != HAL_OK)
  {
    Error_Handler();
  }
  if (HAL_TIM_PWM_Init(&htim3) != HAL_OK)
  {
    Error_Handler();
  }
  sMasterConfig.MasterOutputTrigger = TIM_TRGO_RESET;
  sMasterConfig.MasterSlaveMode = TIM_MASTERSLAVEMODE_DISABLE;
  if (HAL_TIMEx_MasterConfigSynchronization(&htim3, &sMasterConfig) != HAL_OK)
  {
    Error_Handler();
  }
  sConfigOC.OCMode = TIM_OCMODE_PWM1;
  sConfigOC.Pulse = 0;
  sConfigOC.OCPolarity = TIM_OCPOLARITY_HIGH;
  sConfigOC.OCFastMode = TIM_OCFAST_DISABLE;
  if (HAL_TIM_PWM_ConfigChannel(&htim3, &sConfigOC, TIM_CHANNEL_1) != HAL_OK)
  {
    Error_Handler();
  }
  HAL_TIM_MspPostInit(&htim3);

}

static void MX_TIM5_Init(void)
{

  TIM_ClockConfigTypeDef sClockSourceConfig = {0};
  TIM_MasterConfigTypeDef sMasterConfig = {0};
  TIM_OC_InitTypeDef sConfigOC = {0};

  htim5.Instance = TIM5;
  htim5.Init.Prescaler = 9-1;
  htim5.Init.CounterMode = TIM_COUNTERMODE_UP;
  htim5.Init.Period = 16000-1;
  htim5.Init.ClockDivision = TIM_CLOCKDIVISION_DIV1;
  htim5.Init.AutoReloadPreload = TIM_AUTORELOAD_PRELOAD_ENABLE;
  if (HAL_TIM_Base_Init(&htim5) != HAL_OK)
  {
    Error_Handler();
  }
  sClockSourceConfig.ClockSource = TIM_CLOCKSOURCE_INTERNAL;
  if (HAL_TIM_ConfigClockSource(&htim5, &sClockSourceConfig) != HAL_OK)
  {
    Error_Handler();
  }
  if (HAL_TIM_PWM_Init(&htim5) != HAL_OK)
  {
    Error_Handler();
  }
  sMasterConfig.MasterOutputTrigger = TIM_TRGO_RESET;
  sMasterConfig.MasterSlaveMode = TIM_MASTERSLAVEMODE_DISABLE;
  if (HAL_TIMEx_MasterConfigSynchronization(&htim5, &sMasterConfig) != HAL_OK)
  {
    Error_Handler();
  }
  sConfigOC.OCMode = TIM_OCMODE_PWM1;
  sConfigOC.Pulse = 0;
  sConfigOC.OCPolarity = TIM_OCPOLARITY_HIGH;
  sConfigOC.OCFastMode = TIM_OCFAST_DISABLE;
  if (HAL_TIM_PWM_ConfigChannel(&htim5, &sConfigOC, TIM_CHANNEL_1) != HAL_OK)
  {
    Error_Handler();
  }
  HAL_TIM_MspPostInit(&htim5);

}

static void MX_USART1_UART_Init(void)
{

  LL_USART_InitTypeDef USART_InitStruct = {0};

  LL_GPIO_InitTypeDef GPIO_InitStruct = {0};

  /* Peripheral clock enable */
  LL_APB2_GRP1_EnableClock(LL_APB2_GRP1_PERIPH_USART1);

  LL_AHB1_GRP1_EnableClock(LL_AHB1_GRP1_PERIPH_GPIOA);
  LL_AHB1_GRP1_EnableClock(LL_AHB1_GRP1_PERIPH_GPIOB);
  /**USART1 GPIO Configuration
  PA10   ------> USART1_RX
  PB6   ------> USART1_TX
  */
  GPIO_InitStruct.Pin = LL_GPIO_PIN_10;
  GPIO_InitStruct.Mode = LL_GPIO_MODE_ALTERNATE;
  GPIO_InitStruct.Speed = LL_GPIO_SPEED_FREQ_VERY_HIGH;
  GPIO_InitStruct.OutputType = LL_GPIO_OUTPUT_PUSHPULL;
  GPIO_InitStruct.Pull = LL_GPIO_PULL_NO;
  GPIO_InitStruct.Alternate = LL_GPIO_AF_7;
  LL_GPIO_Init(GPIOA, &GPIO_InitStruct);

  GPIO_InitStruct.Pin = LL_GPIO_PIN_6;
  GPIO_InitStruct.Mode = LL_GPIO_MODE_ALTERNATE;
  GPIO_InitStruct.Speed = LL_GPIO_SPEED_FREQ_VERY_HIGH;
  GPIO_InitStruct.OutputType = LL_GPIO_OUTPUT_PUSHPULL;
  GPIO_InitStruct.Pull = LL_GPIO_PULL_NO;
  GPIO_InitStruct.Alternate = LL_GPIO_AF_7;
  LL_GPIO_Init(GPIOB, &GPIO_InitStruct);

  /* USART1 DMA Init */

  /* USART1_RX Init */
  LL_DMA_SetChannelSelection(DMA2, LL_DMA_STREAM_2, LL_DMA_CHANNEL_4);

  LL_DMA_SetDataTransferDirection(DMA2, LL_DMA_STREAM_2, LL_DMA_DIRECTION_PERIPH_TO_MEMORY);

  LL_DMA_SetStreamPriorityLevel(DMA2, LL_DMA_STREAM_2, LL_DMA_PRIORITY_LOW);

  LL_DMA_SetMode(DMA2, LL_DMA_STREAM_2, LL_DMA_MODE_NORMAL);

  LL_DMA_SetPeriphIncMode(DMA2, LL_DMA_STREAM_2, LL_DMA_PERIPH_NOINCREMENT);

  LL_DMA_SetMemoryIncMode(DMA2, LL_DMA_STREAM_2, LL_DMA_MEMORY_INCREMENT);

  LL_DMA_SetPeriphSize(DMA2, LL_DMA_STREAM_2, LL_DMA_PDATAALIGN_BYTE);

  LL_DMA_SetMemorySize(DMA2, LL_DMA_STREAM_2, LL_DMA_MDATAALIGN_BYTE);

  LL_DMA_DisableFifoMode(DMA2, LL_DMA_STREAM_2);

  /* USART1_TX Init */
  LL_DMA_SetChannelSelection(DMA2, LL_DMA_STREAM_7, LL_DMA_CHANNEL_4);

  LL_DMA_SetDataTransferDirection(DMA2, LL_DMA_STREAM_7, LL_DMA_DIRECTION_MEMORY_TO_PERIPH);

  LL_DMA_SetStreamPriorityLevel(DMA2, LL_DMA_STREAM_7, LL_DMA_PRIORITY_LOW);

  LL_DMA_SetMode(DMA2, LL_DMA_STREAM_7, LL_DMA_MODE_NORMAL);

  LL_DMA_SetPeriphIncMode(DMA2, LL_DMA_STREAM_7, LL_DMA_PERIPH_NOINCREMENT);

  LL_DMA_SetMemoryIncMode(DMA2, LL_DMA_STREAM_7, LL_DMA_MEMORY_INCREMENT);

  LL_DMA_SetPeriphSize(DMA2, LL_DMA_STREAM_7, LL_DMA_PDATAALIGN_BYTE);

  LL_DMA_SetMemorySize(DMA2, LL_DMA_STREAM_7, LL_DMA_MDATAALIGN_BYTE);

  LL_DMA_DisableFifoMode(DMA2, LL_DMA_STREAM_7);

  /* USART1 interrupt Init */
  NVIC_SetPriority(USART1_IRQn, NVIC_EncodePriority(NVIC_GetPriorityGrouping(),0, 0));
  NVIC_EnableIRQ(USART1_IRQn);

  USART_InitStruct.BaudRate = 115200;
  USART_InitStruct.DataWidth = LL_USART_DATAWIDTH_8B;
  USART_InitStruct.StopBits = LL_USART_STOPBITS_1;
  USART_InitStruct.Parity = LL_USART_PARITY_NONE;
  USART_InitStruct.TransferDirection = LL_USART_DIRECTION_TX_RX;
  USART_InitStruct.HardwareFlowControl = LL_USART_HWCONTROL_NONE;
  USART_InitStruct.OverSampling = LL_USART_OVERSAMPLING_16;
  LL_USART_Init(USART1, &USART_InitStruct);
  LL_USART_ConfigAsyncMode(USART1);
  LL_USART_Enable(USART1);

}

static void MX_USART2_UART_Init(void)
{

  LL_USART_InitTypeDef USART_InitStruct = {0};

  LL_GPIO_InitTypeDef GPIO_InitStruct = {0};

  /* Peripheral clock enable */
  LL_APB1_GRP1_EnableClock(LL_APB1_GRP1_PERIPH_USART2);

  LL_AHB1_GRP1_EnableClock(LL_AHB1_GRP1_PERIPH_GPIOA);
  /**USART2 GPIO Configuration
  PA2   ------> USART2_TX
  PA3   ------> USART2_RX
  */
  GPIO_InitStruct.Pin = LL_GPIO_PIN_2|LL_GPIO_PIN_3;
  GPIO_InitStruct.Mode = LL_GPIO_MODE_ALTERNATE;
  GPIO_InitStruct.Speed = LL_GPIO_SPEED_FREQ_VERY_HIGH;
  GPIO_InitStruct.OutputType = LL_GPIO_OUTPUT_PUSHPULL;
  GPIO_InitStruct.Pull = LL_GPIO_PULL_NO;
  GPIO_InitStruct.Alternate = LL_GPIO_AF_7;
  LL_GPIO_Init(GPIOA, &GPIO_InitStruct);

  /* USART2 DMA Init */

  /* USART2_RX Init */
  LL_DMA_SetChannelSelection(DMA1, LL_DMA_STREAM_5, LL_DMA_CHANNEL_4);

  LL_DMA_SetDataTransferDirection(DMA1, LL_DMA_STREAM_5, LL_DMA_DIRECTION_PERIPH_TO_MEMORY);

  LL_DMA_SetStreamPriorityLevel(DMA1, LL_DMA_STREAM_5, LL_DMA_PRIORITY_LOW);

  LL_DMA_SetMode(DMA1, LL_DMA_STREAM_5, LL_DMA_MODE_NORMAL);

  LL_DMA_SetPeriphIncMode(DMA1, LL_DMA_STREAM_5, LL_DMA_PERIPH_NOINCREMENT);

  LL_DMA_SetMemoryIncMode(DMA1, LL_DMA_STREAM_5, LL_DMA_MEMORY_INCREMENT);

  LL_DMA_SetPeriphSize(DMA1, LL_DMA_STREAM_5, LL_DMA_PDATAALIGN_BYTE);

  LL_DMA_SetMemorySize(DMA1, LL_DMA_STREAM_5, LL_DMA_MDATAALIGN_BYTE);

  LL_DMA_DisableFifoMode(DMA1, LL_DMA_STREAM_5);

  /* USART2_TX Init */
  LL_DMA_SetChannelSelection(DMA1, LL_DMA_STREAM_6, LL_DMA_CHANNEL_4);

  LL_DMA_SetDataTransferDirection(DMA1, LL_DMA_STREAM_6, LL_DMA_DIRECTION_MEMORY_TO_PERIPH);

  LL_DMA_SetStreamPriorityLevel(DMA1, LL_DMA_STREAM_6, LL_DMA_PRIORITY_LOW);

  LL_DMA_SetMode(DMA1, LL_DMA_STREAM_6, LL_DMA_MODE_NORMAL);

  LL_DMA_SetPeriphIncMode(DMA1, LL_DMA_STREAM_6, LL_DMA_PERIPH_NOINCREMENT);

  LL_DMA_SetMemoryIncMode(DMA1, LL_DMA_STREAM_6, LL_DMA_MEMORY_INCREMENT);

  LL_DMA_SetPeriphSize(DMA1, LL_DMA_STREAM_6, LL_DMA_PDATAALIGN_BYTE);

  LL_DMA_SetMemorySize(DMA1, LL_DMA_STREAM_6, LL_DMA_MDATAALIGN_BYTE);

  LL_DMA_DisableFifoMode(DMA1, LL_DMA_STREAM_6);

  /* USART2 interrupt Init */
  NVIC_SetPriority(USART2_IRQn, NVIC_EncodePriority(NVIC_GetPriorityGrouping(),0, 0));
  NVIC_EnableIRQ(USART2_IRQn);

  USART_InitStruct.BaudRate = 115200;
  USART_InitStruct.DataWidth = LL_USART_DATAWIDTH_8B;
  USART_InitStruct.StopBits = LL_USART_STOPBITS_1;
  USART_InitStruct.Parity = LL_USART_PARITY_NONE;
  USART_InitStruct.TransferDirection = LL_USART_DIRECTION_TX_RX;
  USART_InitStruct.HardwareFlowControl = LL_USART_HWCONTROL_NONE;
  USART_InitStruct.OverSampling = LL_USART_OVERSAMPLING_16;
  LL_USART_Init(USART2, &USART_InitStruct);
  LL_USART_ConfigAsyncMode(USART2);
  LL_USART_Enable(USART2);

}

static void MX_DMA_Init(void)
{

  /* Init with LL driver */
  /* DMA controller clock enable */
  LL_AHB1_GRP1_EnableClock(LL_AHB1_GRP1_PERIPH_DMA1);
  LL_AHB1_GRP1_EnableClock(LL_AHB1_GRP1_PERIPH_DMA2);

  /* DMA interrupt init */
  /* DMA1_Stream5_IRQn interrupt configuration */
  NVIC_SetPriority(DMA1_Stream5_IRQn, NVIC_EncodePriority(NVIC_GetPriorityGrouping(),0, 0));
  NVIC_EnableIRQ(DMA1_Stream5_IRQn);
  /* DMA1_Stream6_IRQn interrupt configuration */
  NVIC_SetPriority(DMA1_Stream6_IRQn, NVIC_EncodePriority(NVIC_GetPriorityGrouping(),0, 0));
  NVIC_EnableIRQ(DMA1_Stream6_IRQn);
  /* DMA2_Stream2_IRQn interrupt configuration */
  NVIC_SetPriority(DMA2_Stream2_IRQn, NVIC_EncodePriority(NVIC_GetPriorityGrouping(),0, 0));
  NVIC_EnableIRQ(DMA2_Stream2_IRQn);
  /* DMA2_Stream7_IRQn interrupt configuration */
  NVIC_SetPriority(DMA2_Stream7_IRQn, NVIC_EncodePriority(NVIC_GetPriorityGrouping(),0, 0));
  NVIC_EnableIRQ(DMA2_Stream7_IRQn);

}

static void MX_GPIO_Init(void)
{
  GPIO_InitTypeDef GPIO_InitStruct = {0};

  /* GPIO Ports Clock Enable */
  __HAL_RCC_GPIOH_CLK_ENABLE();
  __HAL_RCC_GPIOC_CLK_ENABLE();
  __HAL_RCC_GPIOA_CLK_ENABLE();
  __HAL_RCC_GPIOB_CLK_ENABLE();

  /*Configure GPIO pin Output Level */
  HAL_GPIO_WritePin(GPIOC, CEpin_Pin|CSNpin_Pin, GPIO_PIN_RESET);

  /*Configure GPIO pins : CEpin_Pin CSNpin_Pin */
  GPIO_InitStruct.Pin = CEpin_Pin|CSNpin_Pin;
  GPIO_InitStruct.Mode = GPIO_MODE_OUTPUT_PP;
  GPIO_InitStruct.Pull = GPIO_NOPULL;
  GPIO_InitStruct.Speed = GPIO_SPEED_FREQ_LOW;
  HAL_GPIO_Init(GPIOC, &GPIO_InitStruct);

}

/* USER CODE BEGIN 4 */
void USART_Rx_Callback(USART_TypeDef *USARTx){
//  data = (USARTx->DR & 0x1ff);
//  uart1_rx_irq_buffer[count++] = data;
  uart1_rx_irq_buffer[count++] = (USARTx->DR & 0x1ff);;
//  data = LL_USART_ReceiveData8(USARTx);
}

void UART1_TX_string(char* str){
  while(*str){
    while(!LL_USART_IsActiveFlag_TXE(USART1));
    LL_USART_TransmitData8(USART1, *str);
    str++;
  }
}

void UART2_TX_string(char* str){
  while(*str){
    while(!LL_USART_IsActiveFlag_TXE(USART2));
    LL_USART_TransmitData8(USART2, *str);
    str++;
  }
}

void uart_recv_val(uint8_t* arr, __PID* pid,int *Controller_1, float* setting_angle)
{
    char pid_buf[8]={0,};
    //char debuging_buf[3] = "\r\n";
    memset(pid_buf,'\0',sizeof(pid_buf));
    //UART2_TX_string(debuging_buf);

    switch(arr[6])
    {
      case '1' :
        memcpy(pid_buf,arr,6);
        pid_buf[6] = '\0';
        pid->iKp[0] = atof(pid_buf);
        //inpid_val[0][0] = atof(pid_buf);
        //UART2_TX_string(pid_buf);
        break;
      case '2' :
        memcpy(pid_buf,arr,6);
        pid_buf[6] = '\0';
        pid->iKi[0] = atof(pid_buf);
        //inpid_val[0][1] = atof(pid_buf);
        //UART2_TX_string(pid_buf);
        break;
      case '3' :
        memcpy(pid_buf,arr,6);
        pid_buf[6] = '\0';
        pid->iKd[0] = atof(pid_buf);
        //inpid_val[0][2] = atof(pid_buf);
        //UART2_TX_string(pid_buf);
        break;
        case '4' :
        memcpy(pid_buf,arr,6);
        pid_buf[6] = '\0';
        pid->iKp[1] = atof(pid_buf);
        //inpid_val[1][0] = atof(pid_buf);
        //UART2_TX_string(pid_buf);
        break;
      case '5' :
        memcpy(pid_buf,arr,6);
        pid_buf[6] = '\0';
        pid->iKi[1] = atof(pid_buf);
        //inpid_val[1][1] = atof(pid_buf);
        //UART2_TX_string(pid_buf);
        break;
      case '6' :
        memcpy(pid_buf,arr,6);
        pid_buf[6] = '\0';
        pid->iKd[1] = atof(pid_buf);
        //inpid_val[1][2] = atof(pid_buf);
        //UART2_TX_string(pid_buf);
        break;

        case '7' :
        memcpy(pid_buf,arr,6);
        pid_buf[6] = '\0';
        pid->iKp[2] = atof(pid_buf);
        //inpid_val[2][0] = atof(pid_buf);
        //UART2_TX_string(pid_buf);
        break;
      case '8' :
        memcpy(pid_buf,arr,6);
        pid_buf[6] = '\0';
        pid->iKi[2] = atof(pid_buf);
        //inpid_val[2][1] = atof(pid_buf);
        //UART2_TX_string(pid_buf);
        break;
      case '9' :
        memcpy(pid_buf,arr,6);
        pid_buf[6] = '\0';
        pid->iKd[2] = atof(pid_buf);
        //inpid_val[2][2] = atof(pid_buf);
        //UART2_TX_string(pid_buf);
        break;

      case 'a' :
        memcpy(pid_buf,arr,6);
        pid_buf[6] = '\0';
        pid->Kp[0] = atof(pid_buf);
        //pid_val[0][0] = atof(pid_buf);
        //UART2_TX_string(pid_buf);
        break;
      case 'b' :
        memcpy(pid_buf,arr,6);
        pid_buf[6] = '\0';
        pid->Ki[0] = atof(pid_buf);
        //pid_val[0][1] = atof(pid_buf);
        //UART2_TX_string(pid_buf);
        break;
      case 'c' :
        memcpy(pid_buf,arr,6);
        pid_buf[6] = '\0';
        pid->Kd[0] = atof(pid_buf);
        //pid_val[0][2] = atof(pid_buf);
        //UART2_TX_string(pid_buf);
        break;
        case 'd' :
        memcpy(pid_buf,arr,6);
        pid_buf[6] = '\0';
        pid->Kp[1] = atof(pid_buf);
        //pid_val[1][0] = atof(pid_buf);
        //UART2_TX_string(pid_buf);
        break;
      case 'e' :
        memcpy(pid_buf,arr,6);
        pid_buf[6] = '\0';
        pid->Ki[1] = atof(pid_buf);
        //pid_val[1][1] = atof(pid_buf);
        //UART2_TX_string(pid_buf);
        break;
      case 'f' :
        memcpy(pid_buf,arr,6);
        pid_buf[6] = '\0';
        pid->Kd[1] = atof(pid_buf);
        //pid_val[1][2] = atof(pid_buf);
        //UART2_TX_string(pid_buf);
        break;
      case 'g' :
        memcpy(pid_buf,arr,6);
        pid_buf[6] = '\0';
        pid->Kp[2] = atof(pid_buf);
        //pid_val[2][0] = atof(pid_buf);
        //UART2_TX_string(pid_buf);
        break;
     case 'h' :
        memcpy(pid_buf,arr,6);
        pid_buf[6] = '\0';
        pid->Ki[2] = atof(pid_buf);
        //pid_val[2][1] = atof(pid_buf);
        //UART2_TX_string(pid_buf);
        break;
     case 'i' :
        memcpy(pid_buf,arr,6);
        pid_buf[6] = '\0';
        pid->Kd[2] = atof(pid_buf);
        //pid_val[2][2] = atof(pid_buf);
        //UART2_TX_string(pid_buf);
        break;
    case 'T':
        memcpy(pid_buf,arr,6);
        pid_buf[6] = '\0';
        *Controller_1 = atoi(pid_buf);
        //UART2_TX_string(pid_buf);
        break;
    case 'R':
        memcpy(pid_buf,arr,6);
        pid_buf[6] = '\0';
        setting_angle[0] = atof(pid_buf);
        //UART2_TX_string(pid_buf);
        break;
    case 'P':
        memcpy(pid_buf,arr,6);
        pid_buf[6] = '\0';
        setting_angle[1] = atof(pid_buf);
        //UART2_TX_string(pid_buf);
        break;
    case 'Y':
        memcpy(pid_buf,arr,6);
        pid_buf[6] = '\0';
        setting_angle[2] = atof(pid_buf);
        //UART2_TX_string(pid_buf);
        break;

    default: break;
  }
}
/* USER CODE END 4 */

void Error_Handler(void)
{
}

/************************ (C) COPYRIGHT STMicroelectronics *****END OF FILE****/
